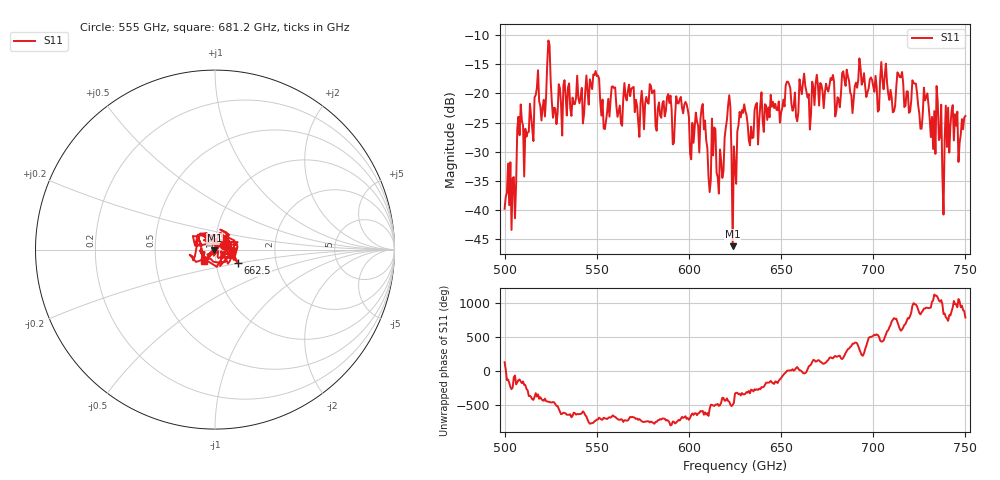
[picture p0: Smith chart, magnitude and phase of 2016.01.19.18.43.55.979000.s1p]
!Created with skrf (http://scikit-rf.org).
# GHz S RI R 50.0
!freq ReS11 ImS11
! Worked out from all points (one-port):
!   401 points, 500 GHz to 750 GHz, reference 50 ohm
!   lowest |S11| = -46.2 dB at 623.8 GHz (marker M1), VSWR 1.01, Z = 49.7 - j0.359 ohm
!   |S11| at or under -10 dB: start of sweep to end of sweep
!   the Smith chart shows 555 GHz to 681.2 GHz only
!   S11 on the Smith chart (normalised r, x): 555 GHz: 1.11, +0.06; 662.5 GHz: 1.28, -0.20; 681.2 GHz: 0.88, -0.12
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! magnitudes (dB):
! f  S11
! 500 GHz  -39.8
! 505 GHz  -34.4
! 508.1 GHz  -27.2
! 521.2 GHz  -21.1
! 523.8 GHz  -10.9
! 526.9 GHz  -22.4
! 531.2 GHz  -27.2
! 549.4 GHz  -16.1
! 555 GHz  -24.8
! 562.5 GHz  -22.1
! 593.8 GHz  -21.6
! 601.9 GHz  -25.0
! 607.5 GHz  -21.8
! 610.6 GHz  -34.3
! 616.9 GHz  -29.6
! 621.2 GHz  -22.1
! 623.8 GHz  -46.2
! 625 GHz  -32.6
! 628.8 GHz  -22.9
! 633.8 GHz  -25.7
! 656.2 GHz  -23.0
! 662.5 GHz  -16.6
! 681.2 GHz  -21.0
! 687.5 GHz  -19.8
! 718.8 GHz  -19.6
! 735.6 GHz  -28.0
! 738.8 GHz  -27.9
! 750 GHz  -23.9
